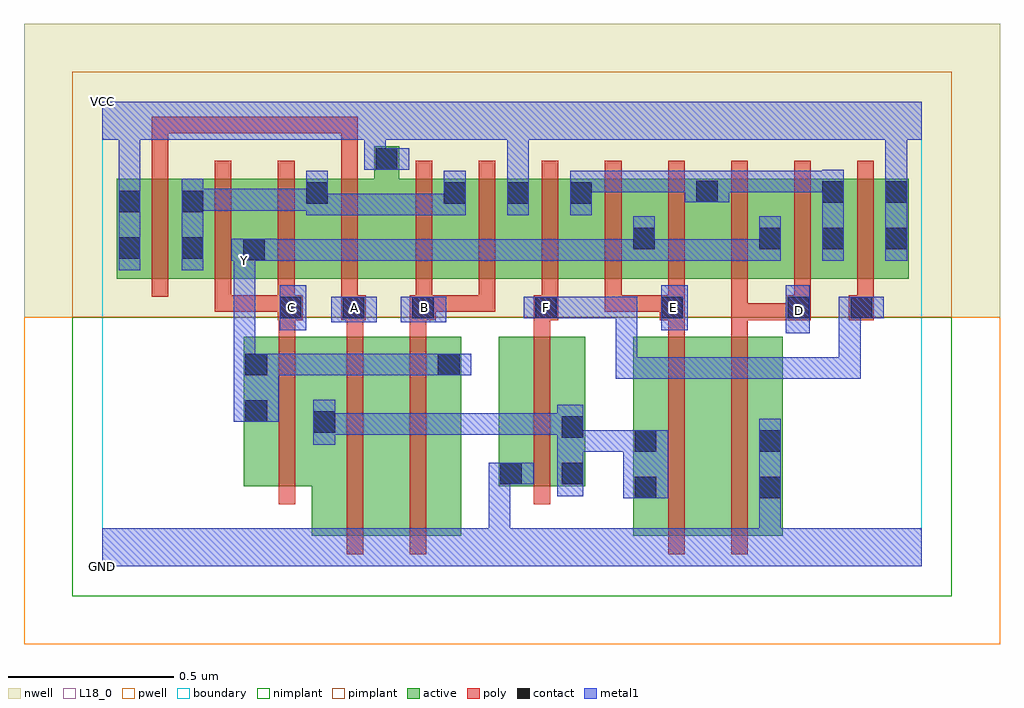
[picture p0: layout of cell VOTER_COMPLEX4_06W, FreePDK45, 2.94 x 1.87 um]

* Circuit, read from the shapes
.subckt VOTER_COMPLEX4_06W A B C D E F GND VCC Y
M1 n1 C Y VSUBS nfet w=0.45u l=0.05u
M2 n2 A n1 VSUBS nfet w=0.6u l=0.05u
M3 Y B n2 VSUBS nfet w=0.6u l=0.05u
M4 n1 F GND VSUBS nfet w=0.45u l=0.05u
M5 n3 E n1 VSUBS nfet w=0.6u l=0.05u
M6 GND D n3 VSUBS nfet w=0.6u l=0.05u
M7 n4 A VCC n5 pfet w=0.3u l=0.05u m=2
M8 Y C n4 n5 pfet w=0.3u l=0.05u m=2
M9 n4 B VCC n5 pfet w=0.3u l=0.05u m=2
M10 n6 F VCC n5 pfet w=0.3u l=0.05u m=2
M11 Y E n6 n5 pfet w=0.3u l=0.05u m=2
M12 Y D n6 n5 pfet w=0.3u l=0.05u m=2
.ends

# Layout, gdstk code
import gdstk
lib = gdstk.Library(unit=1e-6, precision=1e-09)
def R(c, l, rs):  # rectangles x0, y0, x1, y1
    for r in rs: c.add(gdstk.rectangle(r[:2], r[2:], *l))
def A(c, l, x, y, w, h, nx, ny, dx, dy):  # array of equal rectangles
    R(c, l, [(x+i*dx, y+j*dy, x+i*dx+w, y+j*dy+h) for i in range(nx) for j in range(ny)])
active = (1, 0)
pwell = (2, 0)
nwell = (3, 0)
nimplant = (4, 0)
pimplant = (5, 0)
poly = (9, 0)
contact = (10, 0)
metal1 = (11, 0)
L18_0 = (18, 0)
boundary = (235, 0)

voter_complex4_06w = lib.new_cell('VOTER_COMPLEX4_06W')
A(voter_complex4_06w, active, 1.025, 0.867, 0.265, 0.3, 7, 1, 0.19, 0)
R(voter_complex4_06w, active, [(0.632,0.092,0.857,0.692), (0.857,0.092,1.082,0.692), (1.6,0.092,1.825,0.692), (1.825,0.092,2.05,0.692), (1.007,0.095,1.082,0.692), (1.6,0.095,1.705,0.677), (1.975,0.095,2.05,0.692), (0.632,0.2,0.707,0.542), (0.427,0.242,0.502,0.692), (0.427,0.242,0.707,0.692), (1.195,0.242,1.455,0.692), (1.195,0.242,1.27,0.542), (1.38,0.242,1.455,0.692), (0.045,0.867,0.12,1.167), (0.045,0.867,0.31,1.167), (0.235,0.867,0.31,1.167), (0.235,0.867,0.495,1.167), (0.42,0.867,0.685,1.167), (0.42,0.867,0.495,1.07), (0.61,0.867,0.895,1.167), (0.82,0.867,1.1,1.167), (1.215,0.867,1.29,1.162), (1.405,0.867,1.48,1.167), (2.165,0.867,2.24,1.165), (2.355,0.867,2.43,1.167), (1.595,0.95,1.67,1.07), (1.975,0.95,2.05,1.07), (1.785,0.995,1.86,1.167), (0.61,1.002,0.685,1.167), (1.025,1.002,1.1,1.162), (0.82,1.007,0.895,1.265)])
R(voter_complex4_06w, pwell, [(-0.235,-0.235,2.705,0.75)])
R(voter_complex4_06w, nwell, [(-0.235,0.75,2.705,1.635)])
R(voter_complex4_06w, nimplant, [(-0.09,-0.09,2.56,0.75)])
R(voter_complex4_06w, pimplant, [(-0.09,0.75,2.56,1.49)])
A(voter_complex4_06w, poly, 1.3, 0.742, 0.075, 0.075, 3, 1, 0.38, 0)
A(voter_complex4_06w, poly, 0.34, 0.767, 0.05, 0.095, 3, 1, 0.19, 0)
A(voter_complex4_06w, poly, 0.945, 0.767, 0.05, 0.095, 5, 1, 0.19, 0)
A(voter_complex4_06w, poly, 0.15, 0.812, 0.05, 0.41, 4, 1, 0.19, 0)
A(voter_complex4_06w, poly, 0.945, 0.812, 0.05, 0.41, 8, 1, 0.19, 0)
R(voter_complex4_06w, poly, [(0.737,0.037,0.787,0.747), (0.927,0.037,0.977,0.747), (1.705,0.037,1.755,0.747), (1.895,0.037,1.945,0.747), (0.532,0.187,0.582,0.747), (1.3,0.187,1.35,0.747), (0.532,0.697,0.582,0.792), (0.737,0.697,0.787,0.792), (0.927,0.697,0.977,0.792), (1.3,0.697,1.35,0.792), (1.705,0.697,1.755,0.792), (1.895,0.697,1.945,0.792), (0.53,0.742,0.605,0.817), (0.72,0.742,0.795,0.817), (0.927,0.742,1.005,0.817), (1.895,0.742,1.945,0.792), (1.895,0.742,2.11,0.792), (1.895,0.742,1.945,0.862), (2.06,0.742,2.11,0.792), (2.06,0.742,2.11,0.792), (2.25,0.742,2.325,0.817), (0.34,0.767,0.39,0.817), (0.34,0.767,0.39,0.817), (0.34,0.767,0.39,0.817), (0.34,0.767,0.58,0.817), (0.955,0.767,1.005,0.817), (0.955,0.767,1.005,0.817), (0.955,0.767,1.185,0.817), (1.135,0.767,1.185,0.817), (1.515,0.767,1.565,0.817), (1.515,0.767,1.73,0.817), (1.68,0.767,1.73,0.817), (1.68,0.767,1.73,0.817), (2.085,0.767,2.135,0.862), (2.275,0.767,2.325,0.862), (0.15,1.172,0.2,1.355), (0.72,1.172,0.77,1.355), (0.15,1.305,0.2,1.355), (0.15,1.305,0.2,1.355), (0.15,1.305,0.2,1.355), (0.15,1.305,0.332,1.355), (0.282,1.305,0.332,1.355), (0.282,1.305,0.332,1.355), (0.282,1.305,0.332,1.355), (0.282,1.305,0.637,1.355), (0.587,1.305,0.637,1.355), (0.587,1.305,0.637,1.355), (0.587,1.305,0.637,1.355), (0.587,1.305,0.77,1.355), (0.72,1.305,0.77,1.355)])
A(voter_complex4_06w, contact, 1.305, 0.747, 0.065, 0.065, 3, 1, 0.38, 0)
A(voter_complex4_06w, contact, 1.98, 0.955, 0.065, 0.065, 3, 1, 0.19, 0)
A(voter_complex4_06w, contact, 1.03, 1.092, 0.065, 0.065, 3, 1, 0.19, 0)
R(voter_complex4_06w, contact, [(1.605,0.205,1.67,0.27), (1.98,0.205,2.045,0.27), (1.2,0.247,1.265,0.312), (1.385,0.247,1.45,0.312), (1.605,0.345,1.67,0.41), (1.98,0.345,2.045,0.41), (1.385,0.387,1.45,0.452), (0.637,0.402,0.702,0.467), (0.432,0.435,0.497,0.5), (0.432,0.575,0.497,0.64), (1.012,0.575,1.077,0.64), (0.535,0.747,0.6,0.812), (0.725,0.747,0.79,0.812), (0.935,0.747,1,0.812), (2.255,0.747,2.32,0.812), (0.425,0.922,0.49,0.987), (0.05,0.927,0.115,0.992), (0.24,0.927,0.305,0.992), (1.6,0.955,1.665,1.02), (0.05,1.067,0.115,1.132), (0.24,1.067,0.305,1.132), (0.615,1.092,0.68,1.157), (2.17,1.095,2.235,1.16), (2.36,1.095,2.425,1.16), (1.79,1.097,1.855,1.162), (0.825,1.195,0.89,1.26)])
A(voter_complex4_06w, metal1, 1.03, 1.057, 0.065, 0.135, 3, 1, 0.19, 0)
R(voter_complex4_06w, metal1, [(0,0,2.47,0.115), (1.165,0.05,1.23,0.115), (1.165,0.05,1.23,0.115), (1.165,0.05,1.23,0.312), (1.98,0.05,2.045,0.235), (1.98,0.17,2.045,0.445), (1.57,0.205,1.705,0.41), (1.372,0.212,1.45,0.487), (1.165,0.247,1.3,0.312), (1.385,0.345,1.612,0.41), (1.547,0.345,1.612,0.41), (1.547,0.345,1.635,0.41), (0.637,0.367,0.702,0.502), (0.637,0.397,0.717,0.462), (0.652,0.397,0.717,0.462), (0.652,0.397,0.855,0.462), (0.79,0.397,0.855,0.462), (0.79,0.397,1.042,0.462), (0.977,0.397,1.042,0.462), (0.977,0.397,1.042,0.462), (0.977,0.397,1.042,0.462), (0.977,0.397,1.18,0.462), (1.115,0.397,1.18,0.462), (1.115,0.397,1.18,0.462), (1.115,0.397,1.18,0.462), (1.115,0.397,1.437,0.462), (1.372,0.397,1.437,0.462), (1.372,0.397,1.437,0.462), (0.397,0.435,0.532,0.64), (1.547,0.565,1.612,0.63), (1.547,0.565,1.612,0.812), (1.547,0.565,1.802,0.63), (1.737,0.565,1.802,0.63), (1.737,0.565,1.907,0.63), (1.842,0.565,1.907,0.63), (1.842,0.565,1.94,0.63), (1.875,0.565,1.94,0.63), (1.875,0.565,2.097,0.63), (2.032,0.565,2.097,0.63), (2.032,0.565,2.097,0.63), (2.032,0.565,2.097,0.63), (2.032,0.565,2.285,0.63), (2.22,0.565,2.285,0.63), (2.22,0.565,2.285,0.812), (0.397,0.575,0.462,0.917), (0.467,0.575,0.532,0.64), (0.467,0.575,0.532,0.64), (0.467,0.575,0.717,0.64), (0.652,0.575,0.717,0.64), (0.652,0.575,0.717,0.64), (0.652,0.575,0.717,0.64), (0.652,0.575,0.905,0.64), (0.84,0.575,0.905,0.64), (0.84,0.575,0.905,0.64), (0.84,0.575,0.905,0.64), (0.84,0.575,1.042,0.64), (0.977,0.575,1.112,0.64), (2.06,0.702,2.132,0.847), (0.535,0.712,0.615,0.847), (1.685,0.712,1.765,0.847), (0.69,0.735,0.827,0.812), (0.9,0.735,1.037,0.812), (1.27,0.747,1.407,0.812), (1.342,0.747,1.407,0.812), (1.342,0.747,1.407,0.812), (1.342,0.747,1.612,0.812), (1.547,0.747,1.612,0.812), (1.547,0.747,1.612,0.812), (1.547,0.747,1.612,0.812), (2.22,0.747,2.285,0.812), (2.22,0.747,2.285,0.812), (2.22,0.747,2.355,0.812), (0.397,0.852,0.462,0.987), (0.05,0.892,0.115,1.167), (0.24,0.892,0.305,1.167), (0.39,0.92,0.525,0.987), (0.46,0.92,0.525,0.985), (0.46,0.92,0.525,0.985), (0.46,0.92,0.667,0.985), (0.602,0.92,0.667,0.985), (0.602,0.92,0.67,0.985), (0.605,0.92,0.67,0.985), (0.605,0.92,0.905,0.985), (0.84,0.92,0.905,0.985), (0.84,0.92,1.042,0.985), (0.977,0.92,1.042,0.985), (0.977,0.92,1.042,0.985), (0.977,0.92,1.042,0.985), (0.977,0.92,1.18,0.985), (1.115,0.92,1.18,0.985), (1.115,0.92,1.18,0.985), (1.115,0.92,1.18,0.985), (1.115,0.92,1.475,0.985), (1.41,0.92,1.475,0.985), (1.41,0.92,1.475,0.985), (1.41,0.92,1.475,0.985), (1.41,0.92,1.612,0.985), (1.547,0.92,1.612,0.985), (1.547,0.92,1.665,0.985), (1.6,0.92,1.665,1.055), (1.6,0.92,1.802,0.985), (1.737,0.92,1.802,0.985), (1.737,0.92,1.802,0.985), (1.737,0.92,1.802,0.985), (1.737,0.92,1.94,0.985), (1.875,0.92,1.94,0.985), (1.875,0.92,2.045,0.985), (1.98,0.92,2.045,1.055), (2.17,0.92,2.235,1.195), (2.36,0.92,2.425,1.195), (0.397,0.922,0.462,0.987), (0.615,1.057,0.68,1.192), (0.615,1.057,0.767,1.122), (0.702,1.057,0.767,1.122), (0.702,1.057,0.905,1.122), (0.84,1.057,0.905,1.122), (0.84,1.057,0.905,1.122), (0.84,1.057,0.905,1.122), (0.84,1.057,1.095,1.122), (0.24,1.072,0.305,1.137), (0.24,1.072,0.305,1.137), (0.24,1.072,0.53,1.137), (0.465,1.072,0.53,1.137), (0.465,1.072,0.532,1.137), (0.467,1.072,0.532,1.137), (0.467,1.072,0.68,1.137), (1.755,1.097,1.89,1.192), (0.05,1.102,0.115,1.35), (1.22,1.127,1.285,1.35), (1.41,1.127,1.612,1.192), (1.547,1.127,1.612,1.192), (1.547,1.127,1.665,1.192), (1.6,1.127,1.665,1.192), (1.6,1.127,1.802,1.192), (1.737,1.127,1.802,1.192), (1.737,1.127,1.82,1.192), (1.825,1.127,1.94,1.192), (1.875,1.127,1.94,1.192), (1.875,1.127,2.097,1.192), (2.032,1.127,2.097,1.192), (2.032,1.127,2.097,1.192), (2.032,1.127,2.097,1.192), (2.032,1.127,2.235,1.192), (2.36,1.13,2.425,1.195), (2.36,1.13,2.425,1.195), (2.36,1.13,2.425,1.35), (0.79,1.195,0.925,1.26), (0.79,1.195,0.855,1.35), (0,1.285,2.47,1.4), (0.05,1.285,0.115,1.35), (0.05,1.285,0.115,1.35), (0.79,1.285,0.855,1.35), (0.79,1.285,0.855,1.35), (1.22,1.285,1.285,1.35), (1.22,1.285,1.285,1.35)])
R(voter_complex4_06w, L18_0, [(0,0,2.47,0.115), (1.165,0.05,1.23,0.115), (1.165,0.05,1.23,0.115), (1.165,0.05,1.23,0.312), (1.98,0.05,2.045,0.235), (1.98,0.17,2.045,0.445), (1.165,0.247,1.3,0.312), (0.397,0.435,0.532,0.64), (1.547,0.565,1.612,0.63), (1.547,0.565,1.612,0.812), (1.547,0.565,1.802,0.63), (1.737,0.565,1.802,0.63), (1.737,0.565,1.907,0.63), (1.842,0.565,1.907,0.63), (1.842,0.565,1.94,0.63), (1.875,0.565,1.94,0.63), (1.875,0.565,2.097,0.63), (2.032,0.565,2.097,0.63), (2.032,0.565,2.097,0.63), (2.032,0.565,2.097,0.63), (2.032,0.565,2.285,0.63), (2.22,0.565,2.285,0.63), (2.22,0.565,2.285,0.812), (0.397,0.575,0.462,0.917), (0.467,0.575,0.532,0.64), (0.467,0.575,0.532,0.64), (0.467,0.575,0.717,0.64), (0.652,0.575,0.717,0.64), (0.652,0.575,0.717,0.64), (0.652,0.575,0.717,0.64), (0.652,0.575,0.905,0.64), (0.84,0.575,0.905,0.64), (0.84,0.575,0.905,0.64), (0.84,0.575,0.905,0.64), (0.84,0.575,1.042,0.64), (0.977,0.575,1.112,0.64), (2.06,0.702,2.132,0.847), (0.535,0.712,0.615,0.847), (1.685,0.712,1.765,0.847), (0.69,0.735,0.827,0.812), (0.9,0.735,1.037,0.812), (2.067,0.737,2.132,0.802), (0.537,0.747,0.602,0.812), (0.727,0.747,0.792,0.812), (0.937,0.747,1.002,0.812), (1.27,0.747,1.407,0.812), (1.307,0.747,1.372,0.812), (1.342,0.747,1.407,0.812), (1.342,0.747,1.407,0.812), (1.342,0.747,1.612,0.812), (1.547,0.747,1.612,0.812), (1.547,0.747,1.612,0.812), (1.547,0.747,1.612,0.812), (1.687,0.747,1.752,0.812), (2.22,0.747,2.285,0.812), (2.22,0.747,2.285,0.812), (2.22,0.747,2.355,0.812), (0.397,0.852,0.462,0.987), (0.397,0.887,0.462,0.952), (0.05,0.892,0.115,1.167), (0.39,0.92,0.525,0.987), (0.46,0.92,0.525,0.985), (0.46,0.92,0.525,0.985), (0.46,0.92,0.667,0.985), (0.602,0.92,0.667,0.985), (0.602,0.92,0.67,0.985), (0.605,0.92,0.67,0.985), (0.605,0.92,0.905,0.985), (0.84,0.92,0.905,0.985), (0.84,0.92,1.042,0.985), (0.977,0.92,1.042,0.985), (0.977,0.92,1.042,0.985), (0.977,0.92,1.042,0.985), (0.977,0.92,1.18,0.985), (1.115,0.92,1.18,0.985), (1.115,0.92,1.18,0.985), (1.115,0.92,1.18,0.985), (1.115,0.92,1.475,0.985), (1.41,0.92,1.475,0.985), (1.41,0.92,1.475,0.985), (1.41,0.92,1.475,0.985), (1.41,0.92,1.612,0.985), (1.547,0.92,1.612,0.985), (1.547,0.92,1.665,0.985), (1.6,0.92,1.665,1.055), (1.6,0.92,1.802,0.985), (1.737,0.92,1.802,0.985), (1.737,0.92,1.802,0.985), (1.737,0.92,1.802,0.985), (1.737,0.92,1.94,0.985), (1.875,0.92,1.94,0.985), (1.875,0.92,2.045,0.985), (1.98,0.92,2.045,1.055), (2.36,0.92,2.425,1.195), (0.397,0.922,0.462,0.987), (1.22,1.057,1.285,1.192), (0.05,1.102,0.115,1.35), (1.22,1.127,1.285,1.35), (2.36,1.13,2.425,1.195), (2.36,1.13,2.425,1.195), (2.36,1.13,2.425,1.35), (0.79,1.195,0.925,1.26), (0.79,1.195,0.855,1.35), (0,1.285,2.47,1.4), (0.05,1.285,0.115,1.35), (0.05,1.285,0.115,1.35), (0.79,1.285,0.855,1.35), (0.79,1.285,0.855,1.35), (1.22,1.285,1.285,1.35), (1.22,1.285,1.285,1.35)])
R(voter_complex4_06w, boundary, [(0,0,2.47,1.4)])
voter_complex4_06w.add(gdstk.Label('A', (0.76,0.78), layer=11, texttype=0))
voter_complex4_06w.add(gdstk.Label('B', (0.97,0.78), layer=11, texttype=0))
voter_complex4_06w.add(gdstk.Label('C', (0.57,0.78), layer=11, texttype=0))
voter_complex4_06w.add(gdstk.Label('D', (2.1,0.77), layer=11, texttype=0))
voter_complex4_06w.add(gdstk.Label('E', (1.72,0.78), layer=11, texttype=0))
voter_complex4_06w.add(gdstk.Label('F', (1.34,0.78), layer=11, texttype=0))
voter_complex4_06w.add(gdstk.Label('Y', (0.43,0.92), layer=11, texttype=0))
voter_complex4_06w.add(gdstk.Label('VCC', (0,1.4), layer=11, texttype=0))
voter_complex4_06w.add(gdstk.Label('GND', (0,0), layer=11, texttype=0))

lib.write_gds('VOTER_COMPLEX4_06W.gds')
